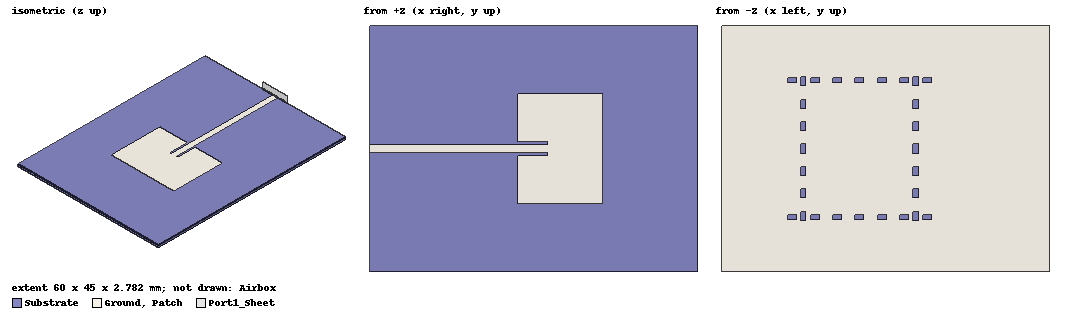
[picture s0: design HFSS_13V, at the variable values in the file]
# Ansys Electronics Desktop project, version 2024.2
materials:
  vacuum: permittivity=1
  RO4350B: permittivity=3.48 permeability=1 dielectric_loss_tangent=0.0037
  pec: conductivity=1e+30
  air: permittivity=1.0006 permeability=1.0000004

design HFSS_13V (HFSS, HFSS Terminal Network, model units mm)
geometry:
  Substrate [RO4350B] = box(corner=(-30mm, -22.5mm, 0mm), size=(60mm, 45mm, 0.762mm))
  Ground [pec] = rectangle(corner=(-30mm, -22.5mm, 0mm), x_size=60mm, y_size=45mm)
  Patch [pec] = rectangle(corner=(-2.99995mm, -10.01535mm, 0.762mm), x_size=15.5383mm, y_size=20.0307mm)
  Feed = rectangle(corner=(-30mm, -0.7991mm, 0.762mm), x_size=32.58775mm, y_size=1.5982mm)
  Patch.unite(Feed)
  TopCut_0_inset_gap_top = rectangle(corner=(-2.99995mm, 0.7991mm, 0.762mm), x_size=5.5877mm, y_size=0.4795mm)
  TopCut_1_inset_gap_bottom = rectangle(corner=(-2.99995mm, -1.2786mm, 0.762mm), x_size=5.5877mm, y_size=0.4795mm)
  Patch.subtract(TopCut_0_inset_gap_top, TopCut_1_inset_gap_bottom)
  GroundCut_0_ebg_0 = rectangle(corner=(-8.3530529mm, -12.99103mm, 0mm), x_size=1.6477328mm, y_size=0.95136029mm)
  GroundCut_1_ebg_1 = rectangle(corner=(-4.2535908mm, -12.99103mm, 0mm), x_size=1.6477328mm, y_size=0.95136029mm)
  GroundCut_2_ebg_2 = rectangle(corner=(-0.15412859mm, -12.99103mm, 0mm), x_size=1.6477328mm, y_size=0.95136029mm)
  GroundCut_3_ebg_3 = rectangle(corner=(3.9453336mm, -12.99103mm, 0mm), x_size=1.6477328mm, y_size=0.95136029mm)
  GroundCut_4_ebg_4 = rectangle(corner=(8.0447957mm, -12.99103mm, 0mm), x_size=1.6477328mm, y_size=0.95136029mm)
  GroundCut_5_ebg_5 = rectangle(corner=(12.144258mm, -12.99103mm, 0mm), x_size=1.6477328mm, y_size=0.95136029mm)
  GroundCut_6_ebg_6 = rectangle(corner=(16.24372mm, -12.99103mm, 0mm), x_size=1.6477328mm, y_size=0.95136029mm)
  GroundCut_7_ebg_7 = rectangle(corner=(-8.3530529mm, 12.03967mm, 0mm), x_size=1.6477328mm, y_size=0.95136029mm)
  GroundCut_8_ebg_8 = rectangle(corner=(-4.2535908mm, 12.03967mm, 0mm), x_size=1.6477328mm, y_size=0.95136029mm)
  GroundCut_9_ebg_9 = rectangle(corner=(-0.15412859mm, 12.03967mm, 0mm), x_size=1.6477328mm, y_size=0.95136029mm)
  GroundCut_10_ebg_10 = rectangle(corner=(3.9453336mm, 12.03967mm, 0mm), x_size=1.6477328mm, y_size=0.95136029mm)
  GroundCut_11_ebg_11 = rectangle(corner=(8.0447957mm, 12.03967mm, 0mm), x_size=1.6477328mm, y_size=0.95136029mm)
  GroundCut_12_ebg_12 = rectangle(corner=(12.144258mm, 12.03967mm, 0mm), x_size=1.6477328mm, y_size=0.95136029mm)
  GroundCut_13_ebg_13 = rectangle(corner=(16.24372mm, 12.03967mm, 0mm), x_size=1.6477328mm, y_size=0.95136029mm)
  GroundCut_14_ebg_14 = rectangle(corner=(-5.9756301mm, -13.122253mm, 0mm), x_size=0.95136029mm, y_size=1.6477328mm)
  GroundCut_15_ebg_15 = rectangle(corner=(-5.9756301mm, -9.0227908mm, 0mm), x_size=0.95136029mm, y_size=1.6477328mm)
  GroundCut_16_ebg_16 = rectangle(corner=(-5.9756301mm, -4.9233286mm, 0mm), x_size=0.95136029mm, y_size=1.6477328mm)
  GroundCut_17_ebg_17 = rectangle(corner=(-5.9756301mm, -0.82386642mm, 0mm), x_size=0.95136029mm, y_size=1.6477328mm)
  GroundCut_18_ebg_18 = rectangle(corner=(-5.9756301mm, 3.2755957mm, 0mm), x_size=0.95136029mm, y_size=1.6477328mm)
  GroundCut_19_ebg_19 = rectangle(corner=(-5.9756301mm, 7.3750579mm, 0mm), x_size=0.95136029mm, y_size=1.6477328mm)
  GroundCut_20_ebg_20 = rectangle(corner=(-5.9756301mm, 11.47452mm, 0mm), x_size=0.95136029mm, y_size=1.6477328mm)
  GroundCut_21_ebg_21 = rectangle(corner=(14.56267mm, -13.122253mm, 0mm), x_size=0.95136029mm, y_size=1.6477328mm)
  GroundCut_22_ebg_22 = rectangle(corner=(14.56267mm, -9.0227908mm, 0mm), x_size=0.95136029mm, y_size=1.6477328mm)
  GroundCut_23_ebg_23 = rectangle(corner=(14.56267mm, -4.9233286mm, 0mm), x_size=0.95136029mm, y_size=1.6477328mm)
  GroundCut_24_ebg_24 = rectangle(corner=(14.56267mm, -0.82386642mm, 0mm), x_size=0.95136029mm, y_size=1.6477328mm)
  GroundCut_25_ebg_25 = rectangle(corner=(14.56267mm, 3.2755957mm, 0mm), x_size=0.95136029mm, y_size=1.6477328mm)
  GroundCut_26_ebg_26 = rectangle(corner=(14.56267mm, 7.3750579mm, 0mm), x_size=0.95136029mm, y_size=1.6477328mm)
  GroundCut_27_ebg_27 = rectangle(corner=(14.56267mm, 11.47452mm, 0mm), x_size=0.95136029mm, y_size=1.6477328mm)
  Ground.subtract(GroundCut_0_ebg_0, GroundCut_1_ebg_1, GroundCut_2_ebg_2, GroundCut_3_ebg_3, GroundCut_4_ebg_4, GroundCut_5_ebg_5, GroundCut_6_ebg_6, GroundCut_7_ebg_7, GroundCut_8_ebg_8, GroundCut_9_ebg_9, GroundCut_10_ebg_10, GroundCut_11_ebg_11, GroundCut_12_ebg_12, GroundCut_13_ebg_13, GroundCut_14_ebg_14, GroundCut_15_ebg_15, GroundCut_16_ebg_16, GroundCut_17_ebg_17, GroundCut_18_ebg_18, GroundCut_19_ebg_19, GroundCut_20_ebg_20, GroundCut_21_ebg_21, GroundCut_22_ebg_22, GroundCut_23_ebg_23, GroundCut_24_ebg_24, GroundCut_25_ebg_25, GroundCut_26_ebg_26, GroundCut_27_ebg_27)
  Airbox [air] = box(corner=(-30mm, -42.5mm, -20mm), size=(80mm, 85mm, 40.762mm))
  Port1_Sheet = rectangle(corner=(-30mm, -3.9955mm, -0.02mm), y_size=7.991mm, z_size=2.782mm)
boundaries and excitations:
  Copper_PEC: Perfect E Objects=[Ground, Patch]
  Radiation: Radiation Objects=Airbox
  Port1: Wave Port Objects=Port1_Sheet WavePortType=Modal NumModes=1 Modes{Mode1{CharImp=Zpi RenormImp=50ohm}}
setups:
  Setup1: HfssDriven Frequency=5GHz MaxDeltaS=0.02 MaximumPasses=10 MinimumPasses=1 MinimumConvergedPasses=1 PercentRefinement=30 BasisOrder=1 PortAccuracy=2 DrivenSolverType="Direct Solver"
    sweep Sweep_4_6GHz: 4GHz to 6GHz, 101 points; Type=Interpolating SaveRadFields InterpTolerance=0.5 InterpMaxSolns=250 InterpUsePortImped=false PassivityErrorTolerance=0.0001
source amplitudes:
  Port1:1: 1V 0deg
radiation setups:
  InfiniteSphere_EH_Cuts: Infinite Sphere Theta=-180deg..180deg step 1deg Phi=-90deg..90deg step 90deg
